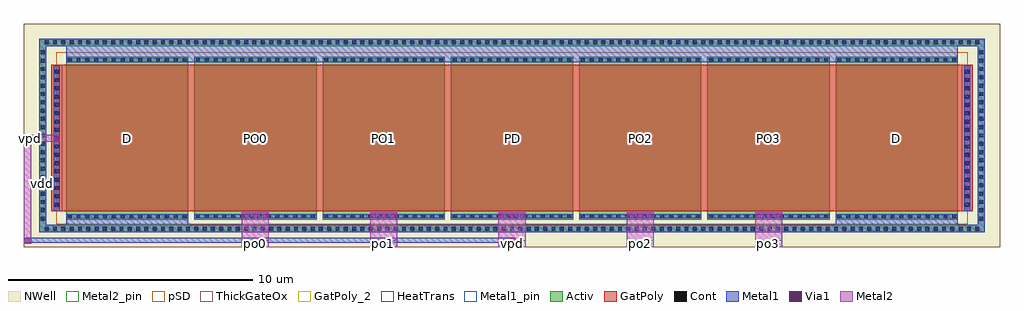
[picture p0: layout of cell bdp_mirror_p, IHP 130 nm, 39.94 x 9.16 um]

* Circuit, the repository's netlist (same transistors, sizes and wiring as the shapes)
* SPDX-FileCopyrightText: 2026 Christoph Maier
* SPDX-License-Identifier: Apache-2.0
* bdp_mirror_p (Claude, agent D, C4 2026-11-07). hv devices 1u/0.45u; every device as drawn.

.SUBCKT bdp_mirror_p po0 po1 po2 po3 vdd vpd
MDP0 vdd vpd vdd vdd sg13_hv_pmos w=5u l=6u ng=1 m=1
MPO0 po0 vpd vdd vdd sg13_hv_pmos w=5u l=6u ng=1 m=1
MPO1 po1 vpd vdd vdd sg13_hv_pmos w=5u l=6u ng=1 m=1
MPD vpd vpd vdd vdd sg13_hv_pmos w=5u l=6u ng=1 m=1
MPO2 po2 vpd vdd vdd sg13_hv_pmos w=5u l=6u ng=1 m=1
MPO3 po3 vpd vdd vdd sg13_hv_pmos w=5u l=6u ng=1 m=1
MDP6 vdd vpd vdd vdd sg13_hv_pmos w=5u l=6u ng=1 m=1
.ENDS bdp_mirror_p

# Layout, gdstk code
from math import pi, radians
import gdstk
lib = gdstk.Library(unit=1e-6, precision=1e-09)
def R(c, l, rs):  # rectangles x0, y0, x1, y1
    for r in rs: c.add(gdstk.rectangle(r[:2], r[2:], *l))
def A(c, l, x, y, w, h, nx, ny, dx, dy):  # array of equal rectangles
    R(c, l, [(x+i*dx, y+j*dy, x+i*dx+w, y+j*dy+h) for i in range(nx) for j in range(ny)])
Activ = (1, 0)
GatPoly = (5, 0)
GatPoly_2 = (5, 2)
Cont = (6, 0)
Metal1 = (8, 0)
Metal1_pin = (8, 2)
Metal2 = (10, 0)
Metal2_pin = (10, 2)
pSD = (14, 0)
Via1 = (19, 0)
NWell = (31, 0)
ThickGateOx = (44, 0)
HeatTrans = (51, 0)

pmoshv_w5_l6 = lib.new_cell('pmosHV_w5_l6')
R(pmoshv_w5_l6, Activ, [(0,0,0.3,0.3), (0,0,6.68,5), (6.38,0,6.68,0.3)])
R(pmoshv_w5_l6, GatPoly, [(0.34,-0.18,6.34,5.18)])
R(pmoshv_w5_l6, GatPoly_2, [(0.34,-0.18,6.34,5.18)])
A(pmoshv_w5_l6, Cont, 0.07, 0.07, 0.16, 0.16, 1, 4, 0, 0.36)
A(pmoshv_w5_l6, Cont, 6.45, 0.07, 0.16, 0.16, 1, 4, 0, 0.36)
A(pmoshv_w5_l6, Cont, 0.07, 1.515, 0.16, 0.16, 1, 3, 0, 0.36)
A(pmoshv_w5_l6, Cont, 6.45, 1.515, 0.16, 0.16, 1, 3, 0, 0.36)
A(pmoshv_w5_l6, Cont, 0.07, 2.6, 0.16, 0.16, 1, 3, 0, 0.36)
A(pmoshv_w5_l6, Cont, 6.45, 2.6, 0.16, 0.16, 1, 3, 0, 0.36)
A(pmoshv_w5_l6, Cont, 0.07, 3.685, 0.16, 0.16, 1, 3, 0, 0.36)
A(pmoshv_w5_l6, Cont, 6.45, 3.685, 0.16, 0.16, 1, 3, 0, 0.36)
R(pmoshv_w5_l6, Cont, [(0.07,4.77,0.23,4.93), (6.45,4.77,6.61,4.93)])
R(pmoshv_w5_l6, Metal1, [(0.07,0,0.23,5), (6.45,0,6.61,5)])
R(pmoshv_w5_l6, Metal1_pin, [(0.07,0,0.23,5), (6.45,0,6.61,5)])
R(pmoshv_w5_l6, pSD, [(-0.18,-0.4,6.86,5.4)])
R(pmoshv_w5_l6, NWell, [(-0.62,-0.62,7.3,5.62)])
R(pmoshv_w5_l6, ThickGateOx, [(-0.62,-0.62,7.3,5.62)])
R(pmoshv_w5_l6, HeatTrans, [(0.34,-0.18,6.34,5.18)])
pmoshv_w5_l6.add(gdstk.Label('pmosHV', (3.34,2.5), layer=63, texttype=0))
pmoshv_w5_l6.add(gdstk.Label('pmos', (3.34,2.5), layer=51, texttype=0))

bdp_mirror_p = lib.new_cell('bdp_mirror_p')
R(bdp_mirror_p, Activ, [(0.62,0.62,39.32,0.92), (0.62,0.92,0.92,8.24), (39.02,0.92,39.32,8.24), (0.62,8.24,39.32,8.54)])
R(bdp_mirror_p, GatPoly, [(1.12,1.47,1.72,7.47), (38.22,1.47,38.82,7.47)])
A(bdp_mirror_p, Cont, 0.85, 0.69, 0.16, 0.16, 113, 2, 0.34, 7.62)
A(bdp_mirror_p, Cont, 0.69, 1.1, 0.16, 0.16, 1, 21, 0, 0.34)
A(bdp_mirror_p, Cont, 39.09, 1.1, 0.16, 0.16, 1, 21, 0, 0.34)
A(bdp_mirror_p, Cont, 1.26, 1.67, 0.16, 0.16, 1, 17, 0, 0.34)
A(bdp_mirror_p, Cont, 38.52, 1.67, 0.16, 0.16, 1, 17, 0, 0.34)
A(bdp_mirror_p, Metal1, 8.915, 1.14, 1.11, 0.29, 5, 1, 5.25, 0)
R(bdp_mirror_p, Metal1, [(0,0.19,20.12,0.4), (0.62,0.62,39.32,0.92), (0.62,0.92,0.92,8.24), (1.72,0.92,6.72,1.36), (33.22,0.92,38.22,1.36), (39.02,0.92,39.32,8.24), (1.21,1.49,1.47,7.45), (38.47,1.49,38.73,7.45), (1.72,7.58,38.22,8.54), (0.62,8.24,39.32,8.54)])
R(bdp_mirror_p, Metal1_pin, [(0.62,1.63,0.92,3.63)])
A(bdp_mirror_p, Metal2, 8.915, 0, 1.11, 1.43, 5, 1, 5.25, 0)
R(bdp_mirror_p, Metal2, [(0,0.15,0.29,4.62), (0,4.32,1.47,4.62)])
A(bdp_mirror_p, Metal2_pin, 8.915, 0, 1.11, 0.3, 5, 1, 5.25, 0)
R(bdp_mirror_p, Metal2_pin, [(0,4.32,0.5,4.62)])
A(bdp_mirror_p, Via1, 8.965, 1.19, 0.19, 0.19, 3, 1, 0.41, 0)
A(bdp_mirror_p, Via1, 14.215, 1.19, 0.19, 0.19, 3, 1, 0.41, 0)
A(bdp_mirror_p, Via1, 19.465, 1.19, 0.19, 0.19, 3, 1, 0.41, 0)
A(bdp_mirror_p, Via1, 24.715, 1.19, 0.19, 0.19, 3, 1, 0.41, 0)
A(bdp_mirror_p, Via1, 29.965, 1.19, 0.19, 0.19, 3, 1, 0.41, 0)
R(bdp_mirror_p, Via1, [(0.05,0.2,0.24,0.39), (19.875,0.2,20.065,0.39), (1.245,4.375,1.435,4.565)])
R(bdp_mirror_p, NWell, [(0,0,39.94,9.16)])
R(bdp_mirror_p, ThickGateOx, [(0,0,39.94,9.16)])
bdp_mirror_p.add(gdstk.Reference(pmoshv_w5_l6, (1.72,7.81), rotation=3*pi/2))
bdp_mirror_p.add(gdstk.Reference(pmoshv_w5_l6, (6.97,7.81), rotation=3*pi/2))
bdp_mirror_p.add(gdstk.Reference(pmoshv_w5_l6, (12.22,7.81), rotation=3*pi/2))
bdp_mirror_p.add(gdstk.Reference(pmoshv_w5_l6, (17.47,7.81), rotation=3*pi/2))
bdp_mirror_p.add(gdstk.Reference(pmoshv_w5_l6, (27.72,7.81), rotation=3*pi/2, x_reflection=True))
bdp_mirror_p.add(gdstk.Reference(pmoshv_w5_l6, (32.97,7.81), rotation=3*pi/2, x_reflection=True))
bdp_mirror_p.add(gdstk.Reference(pmoshv_w5_l6, (38.22,7.81), rotation=3*pi/2, x_reflection=True))
bdp_mirror_p.add(gdstk.Label('vdd', (0.77,2.63), layer=8, texttype=25))
bdp_mirror_p.add(gdstk.Label('po0', (9.47,0.15), layer=10, texttype=25))
bdp_mirror_p.add(gdstk.Label('po1', (14.72,0.15), layer=10, texttype=25))
bdp_mirror_p.add(gdstk.Label('vpd', (19.97,0.15), layer=10, texttype=25))
bdp_mirror_p.add(gdstk.Label('po2', (25.22,0.15), layer=10, texttype=25))
bdp_mirror_p.add(gdstk.Label('po3', (30.47,0.15), layer=10, texttype=25))
bdp_mirror_p.add(gdstk.Label('vpd', (0.25,4.47), layer=10, texttype=25))
bdp_mirror_p.add(gdstk.Label('D', (4.22,4.47), layer=63, texttype=0))
bdp_mirror_p.add(gdstk.Label('PO0', (9.47,4.47), layer=63, texttype=0))
bdp_mirror_p.add(gdstk.Label('PO1', (14.72,4.47), layer=63, texttype=0))
bdp_mirror_p.add(gdstk.Label('PD', (19.97,4.47), layer=63, texttype=0))
bdp_mirror_p.add(gdstk.Label('PO2', (25.22,4.47), layer=63, texttype=0))
bdp_mirror_p.add(gdstk.Label('PO3', (30.47,4.47), layer=63, texttype=0))
bdp_mirror_p.add(gdstk.Label('D', (35.72,4.47), layer=63, texttype=0))

lib.write_gds('bdp_mirror_p.gds')
